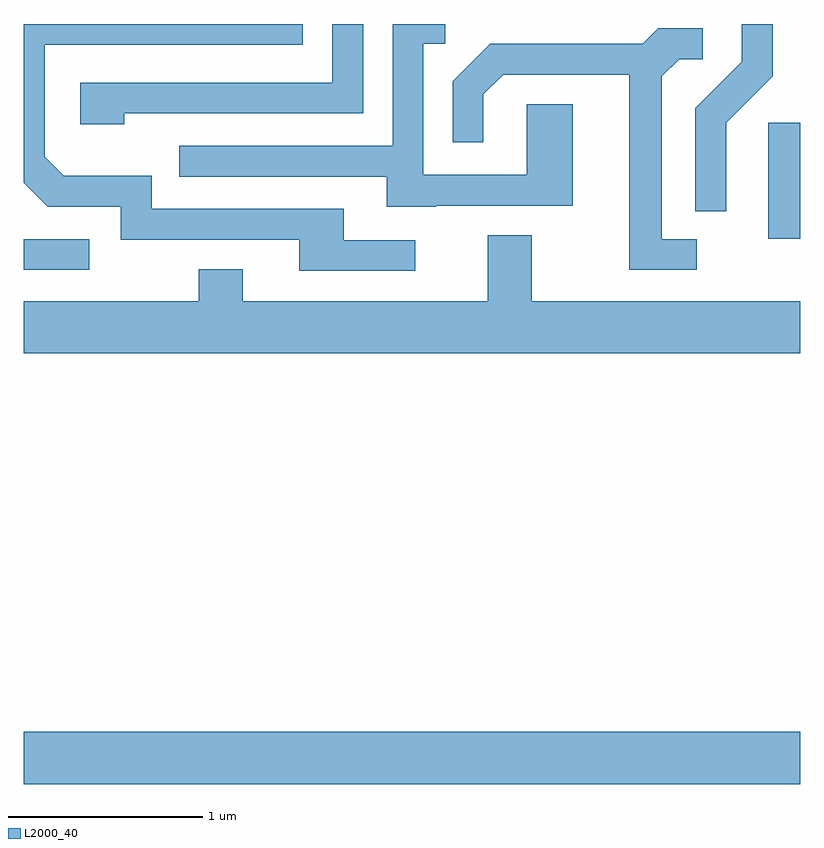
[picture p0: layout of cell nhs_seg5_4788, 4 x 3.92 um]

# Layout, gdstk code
import gdstk
lib = gdstk.Library(unit=1e-6, precision=1e-09)
def R(c, l, rs):  # rectangles x0, y0, x1, y1
    for r in rs: c.add(gdstk.rectangle(r[:2], r[2:], *l))
def P(c, l, *ps):  # polygons
    for p in ps: c.add(gdstk.Polygon(p, *l))
L2000_40 = (2000, 40)

nhs_seg5_4788 = lib.new_cell('nhs_seg5_4788')
R(nhs_seg5_4788, L2000_40, [(327.611,1430.156,331.611,1430.424), (327.611,1432.806,327.948,1432.964), (331.446,1432.966,331.611,1433.564)])
P(nhs_seg5_4788, L2000_40, [(329.735,1433.136),(330.439,1433.136),(330.439,1433.659),(330.201,1433.659),(330.201,1433.294),(329.669,1433.294),(329.669,1433.971),(329.783,1433.971),(329.783,1434.072),(329.511,1434.072),(329.511,1433.444),(328.413,1433.444),(328.413,1433.286),(329.481,1433.286),(329.481,1433.131),(329.735,1433.131)],
  [(329.628,1432.959),(329.259,1432.959),(329.259,1433.119),(328.269,1433.119),(328.269,1433.289),(327.817,1433.289),(327.719,1433.387),(327.719,1433.966),(329.049,1433.966),(329.049,1434.072),(327.611,1434.072),(327.611,1433.254),(327.734,1433.131),(328.111,1433.131),(328.111,1432.961),(329.031,1432.961),(329.031,1432.801),(329.628,1432.801)],
  [(328.129,1433.611),(329.359,1433.611),(329.359,1434.072),(329.201,1434.072),(329.201,1433.769),(327.901,1433.769),(327.901,1433.556),(328.129,1433.556)],
  [(331.229,1433.564),(331.469,1433.804),(331.469,1434.072),(331.311,1434.072),(331.311,1433.877),(331.071,1433.637),(331.071,1433.108),(331.229,1433.108)],
  [(331.078,1432.964),(330.899,1432.964),(330.899,1433.804),(330.987,1433.891),(331.108,1433.891),(331.108,1434.049),(330.879,1434.049),(330.799,1433.969),(330.014,1433.969),(329.821,1433.777),(329.821,1433.463),(329.979,1433.463),(329.979,1433.709),(330.082,1433.811),(330.731,1433.811),(330.731,1432.806),(331.078,1432.806)],
  [(331.611,1432.644),(330.229,1432.644),(330.229,1432.984),(330.001,1432.984),(330.001,1432.644),(328.739,1432.644),(328.739,1432.809),(328.511,1432.809),(328.511,1432.644),(327.611,1432.644),(327.611,1432.376),(331.611,1432.376)])

lib.write_gds('nhs_seg5_4788.gds')
